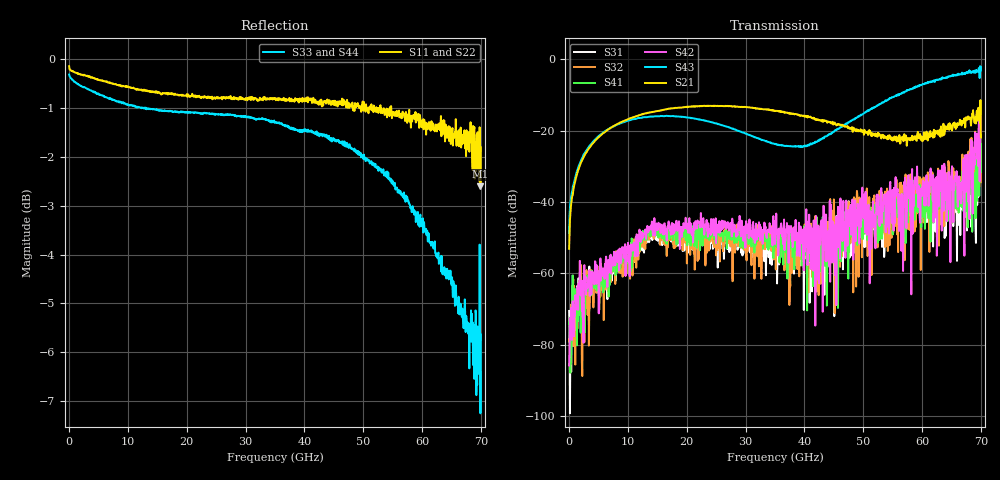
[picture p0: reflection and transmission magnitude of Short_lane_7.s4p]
! 4/13/2026 10:30:54 AM
! C:\ANRITSUVNA\DATA\SARA\2026-04-13 T5 MZDRV\DEEMB STRUCTURES\SHORT_0.S4P
! CHANNEL.1
! TR.MEASUREMENT
! CORRECTED.DATA
! RF.CORRECTION: FULL.FOUR.PORT.CAL.PORT.1.2.3.4
! AVERAGING.OFF
! IF.BANDWIDTH: 1KHZ
! SWEEPTYPE:  FREQ.SWEEP(Linear)
! Reference Plane Port Info
! PORT:  PORT1  PORT2  PORT3  PORT4
! DISTANCE:  0  m  0  m  0  m  0  m
! TIME:  0  s  0  s  0  s  0  s
! PHASE.OFFSET:  0 °  0 °  0 °  0 °
! LOSS:  0  dB  0  dB  0  dB  0  dB
! REF.LOSS:  0  dB  0  dB  0  dB  0  dB
! REF.FREQ:  0  Hz  0  Hz  0  Hz  0  Hz
! Power Info
! POWER:  -20  dBm  -20  dBm  -20  dBm  -20  dBm
! EFF.POWER:  -20  dBm  -20  dBm  -20  dBm  -20  dBm
! SOURCE.ATTEN:  0  dB  0  dB  0  dB  0  dB
! TEST.ATTEN:  0  dB  0  dB  0  dB  0  dB
# HZ S DB R 50.0
! FREQ.HZ  S11DB  S11A  S12DB  S12A  S13DB  S13A  S14DB  S14A
!  S21DB  S21A  S22DB  S22A  S23DB  S23A  S24DB  S24A
!  S31DB  S31A  S32DB  S32A  S33DB  S33A  S34DB  S34A
!  S41DB  S41A  S42DB  S42A  S43DB  S43A  S44DB  S44A
!; PortSelection: Port_1234
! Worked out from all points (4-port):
!   1001 points, 10 MHz to 70 GHz, reference 50 ohm
!   strongest paths, dB at 10 MHz, 17.51 GHz, 35.01 GHz, 52.5 GHz, 70 GHz:
!     S21: -53.1, -13.8, -14.5, -20.6, -21.9
!     S43: -48.7, -15.9, -23.7, -12.9, -2.2
!     S42: -85.8, -45.9, -51.8, -43.5, -21.8
!     S41: -73.8, -48.5, -51.5, -51.4, -23.7
!     S32: -78.6, -47.9, -51.5, -39.3, -34.4
!     S31: -70.5, -49.7, -51.4, -42.2, -25.5
!   lowest |S11| = -2.6 dB at 69.93 GHz (marker M1), VSWR 6.72, Z = 323 + j64.6 ohm
!   |S11| at or under -10 dB: nowhere
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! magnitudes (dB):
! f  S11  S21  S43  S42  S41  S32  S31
! 10 MHz  -0.1  -53.1  -48.7  -85.8  -73.8  -78.6  -70.5
! 2.88 GHz  -0.3  -26.2  -25.7  -65.9  -61.8  -66.6  -65.6
! 12.54 GHz  -0.6  -15.4  -16.3  -49.2  -48.1  -50.7  -50.8
! 45.15 GHz  -0.9  -17.8  -20.0  -46.7  -46.6  -71.1  -50.8
! 66.85 GHz  -1.7  -17.3  -4.3  -34.4  -35.6  -26.7  -33.4
! 69.93 GHz  -2.6  -11.5  -3.5  -15.3  -31.8  -26.6  -26.4
! 70 GHz  -1.8  -21.9  -2.2  -21.8  -23.7  -34.4  -25.5
